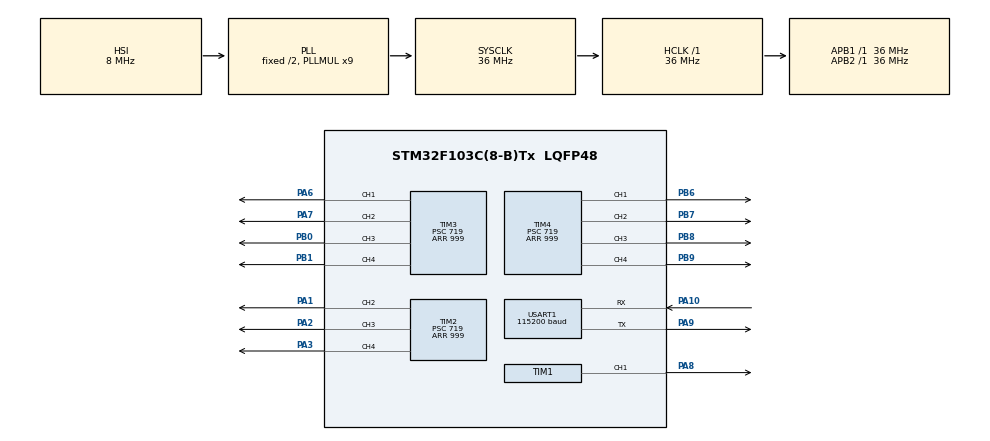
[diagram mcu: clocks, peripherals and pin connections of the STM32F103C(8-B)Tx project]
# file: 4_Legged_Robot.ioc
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Dma.Request0=USART1_RX
Dma.Request1=USART1_TX
Dma.USART1_RX.0.Direction=DMA_PERIPH_TO_MEMORY
Dma.USART1_RX.0.Instance=DMA1_Channel5
Dma.USART1_RX.0.MemDataAlignment=DMA_MDATAALIGN_BYTE
Dma.USART1_RX.0.MemInc=DMA_MINC_ENABLE
Dma.USART1_RX.0.Mode=DMA_CIRCULAR
Dma.USART1_RX.0.PeriphDataAlignment=DMA_PDATAALIGN_BYTE
Dma.USART1_RX.0.PeriphInc=DMA_PINC_DISABLE
Dma.USART1_RX.0.Priority=DMA_PRIORITY_LOW
Dma.USART1_TX.1.Direction=DMA_MEMORY_TO_PERIPH
Dma.USART1_TX.1.Instance=DMA1_Channel4
Dma.USART1_TX.1.MemDataAlignment=DMA_MDATAALIGN_BYTE
Dma.USART1_TX.1.MemInc=DMA_MINC_ENABLE
Dma.USART1_TX.1.Mode=DMA_CIRCULAR
Dma.USART1_TX.1.PeriphDataAlignment=DMA_PDATAALIGN_BYTE
Dma.USART1_TX.1.PeriphInc=DMA_PINC_DISABLE
Dma.USART1_TX.1.Priority=DMA_PRIORITY_LOW
Mcu.Family=STM32F1
Mcu.Name=STM32F103C(8-B)Tx
Mcu.Package=LQFP48
NVIC.DMA1_Channel4_IRQn=true\:0\:0\:false\:false\:true\:false\:true\:true
NVIC.DMA1_Channel5_IRQn=true\:0\:0\:false\:false\:true\:false\:true\:true
NVIC.PriorityGroup=NVIC_PRIORITYGROUP_4
NVIC.USART1_IRQn=true\:0\:0\:false\:false\:true\:true\:true\:true
PA1.Signal=S_TIM2_CH2
PA10.Mode=Asynchronous
PA10.Signal=USART1_RX
PA13.Mode=Serial_Wire
PA13.Signal=SYS_JTMS-SWDIO
PA14.Mode=Serial_Wire
PA14.Signal=SYS_JTCK-SWCLK
PA2.Signal=S_TIM2_CH3
PA3.Signal=S_TIM2_CH4
PA6.Signal=S_TIM3_CH1
PA7.Signal=S_TIM3_CH2
PA8.Signal=S_TIM1_CH1
PA9.Mode=Asynchronous
PA9.Signal=USART1_TX
PB0.Signal=S_TIM3_CH3
PB1.Signal=S_TIM3_CH4
PB6.Signal=S_TIM4_CH1
PB7.Signal=S_TIM4_CH2
PB8.Signal=S_TIM4_CH3
PB9.Signal=S_TIM4_CH4
PD0-OSC_IN.Mode=HSE-External-Oscillator
PD0-OSC_IN.Signal=RCC_OSC_IN
PD1-OSC_OUT.Mode=HSE-External-Oscillator
PD1-OSC_OUT.Signal=RCC_OSC_OUT
ProjectManager.HeapSize=0x200
ProjectManager.StackSize=0x400
ProjectManager.TargetToolchain=MDK-ARM V5.32
RCC.AHBFreq_Value=36000000
RCC.APB1Freq_Value=36000000
RCC.APB1TimFreq_Value=36000000
RCC.APB2Freq_Value=36000000
RCC.APB2TimFreq_Value=36000000
RCC.HCLKFreq_Value=36000000
RCC.PLLMUL=RCC_PLL_MUL9
RCC.SYSCLKFreq_VALUE=36000000
RCC.SYSCLKSource=RCC_SYSCLKSOURCE_PLLCLK
RCC.USBFreq_Value=36000000
SH.S_TIM1_CH1.0=TIM1_CH1,PWM Generation1 CH1
SH.S_TIM2_CH2.0=TIM2_CH2,PWM Generation2 CH2
SH.S_TIM2_CH3.0=TIM2_CH3,PWM Generation3 CH3
SH.S_TIM2_CH4.0=TIM2_CH4,PWM Generation4 CH4
SH.S_TIM3_CH1.0=TIM3_CH1,PWM Generation1 CH1
SH.S_TIM3_CH2.0=TIM3_CH2,PWM Generation2 CH2
SH.S_TIM3_CH3.0=TIM3_CH3,PWM Generation3 CH3
SH.S_TIM3_CH4.0=TIM3_CH4,PWM Generation4 CH4
SH.S_TIM4_CH1.0=TIM4_CH1,PWM Generation1 CH1
SH.S_TIM4_CH2.0=TIM4_CH2,PWM Generation2 CH2
SH.S_TIM4_CH3.0=TIM4_CH3,PWM Generation3 CH3
SH.S_TIM4_CH4.0=TIM4_CH4,PWM Generation4 CH4
TIM1.Channel-PWM\ Generation1\ CH1=TIM_CHANNEL_1
TIM1.Period=999
TIM1.Prescaler=719
TIM2.Channel-PWM\ Generation2\ CH2=TIM_CHANNEL_2
TIM2.Channel-PWM\ Generation3\ CH3=TIM_CHANNEL_3
TIM2.Channel-PWM\ Generation4\ CH4=TIM_CHANNEL_4
TIM2.Period=999
TIM2.Prescaler=719
TIM3.Channel-PWM\ Generation1\ CH1=TIM_CHANNEL_1
TIM3.Channel-PWM\ Generation2\ CH2=TIM_CHANNEL_2
TIM3.Channel-PWM\ Generation3\ CH3=TIM_CHANNEL_3
TIM3.Channel-PWM\ Generation4\ CH4=TIM_CHANNEL_4
TIM3.Period=999
TIM3.Prescaler=719
TIM4.Channel-PWM\ Generation1\ CH1=TIM_CHANNEL_1
TIM4.Channel-PWM\ Generation2\ CH2=TIM_CHANNEL_2
TIM4.Channel-PWM\ Generation3\ CH3=TIM_CHANNEL_3
TIM4.Channel-PWM\ Generation4\ CH4=TIM_CHANNEL_4
TIM4.Period=999
TIM4.Prescaler=719
USART1.BaudRate=115200
USART1.VirtualMode=VM_ASYNC
VP_TIM1_VS_ClockSourceINT.Mode=Internal
VP_TIM2_VS_ClockSourceINT.Mode=Internal
VP_TIM3_VS_ClockSourceINT.Mode=Internal
VP_TIM4_VS_ClockSourceINT.Mode=Internal
board=custom

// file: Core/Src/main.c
/* USER CODE BEGIN Header */
/**
  ******************************************************************************
  * @file           : main.c
  * @brief          : Main program body
  ******************************************************************************
  * @attention
  *
  * Copyright (c) 2023 STMicroelectronics.
  * All rights reserved.
  *
  * This software is licensed under terms that can be found in the LICENSE file
  * in the root directory of this software component.
  * If no LICENSE file comes with this software, it is provided AS-IS.
  *
  ******************************************************************************
  */
/* USER CODE END Header */
#include "main.h"
#include "dma.h"
#include "tim.h"
#include "usart.h"
#include "gpio.h"

/* USER CODE BEGIN PV */
/*Setting an initial value for the angle of each motor.*/
int Motor_Current_Position[4][5] = {{0, 0, 0, 0, 0}, {0, 79, 75, 77, 78},
{0, 125, 116, 117, 125}, {0, 94, 86, 90, 85}};
int space = 0, count = 0;
char symbol;
uint8_t RxBuffer[4];
/* USER CODE END PV */

void SystemClock_Config(void);
/* USER CODE BEGIN PFP */
int Find_max(int pwm_1, int pwm_2, int pwm_3, int pwm_4);
void Move_All(int pwm_1, int pwm_2, int pwm_3, int pwm_4, int motor);
void Move(TIM_HandleTypeDef htim, int timer, int CCR, int pwm, int motor);
void Home(void);
void Forward(int count);
void Backward(int count);
void Turn_Left(int count);
void Turn_Right(int count);
void deCode(void);
void HAL_UART_RxCpltCallback(UART_HandleTypeDef *huart);
/* USER CODE END PFP */

/* USER CODE BEGIN 0 */
////////////////////////////////////////////////////////////////////////////////////
/* USER CODE END 0 */

int main(void)
{

  /* MCU Configuration--------------------------------------------------------*/

  /* Reset of all peripherals, Initializes the Flash interface and the Systick. */
  HAL_Init();

  /* Configure the system clock */
  SystemClock_Config();

  /* Initialize all configured peripherals */
  MX_GPIO_Init();
  MX_DMA_Init();
  MX_USART1_UART_Init();
  MX_TIM1_Init();
  MX_TIM2_Init();
  MX_TIM3_Init();
  MX_TIM4_Init();
  /* USER CODE BEGIN 2 */
	////////////////////////////////////////////////////////////// Leg1
	HAL_TIM_PWM_Start(&htim1, TIM_CHANNEL_1); //A8	=> M3
	HAL_TIM_PWM_Start(&htim3, TIM_CHANNEL_4);	//B1	=> M2
	HAL_TIM_PWM_Start(&htim4, TIM_CHANNEL_4); //B9  => M1
	////////////////////////////////////////////////////////////// Leg2
	HAL_TIM_PWM_Start(&htim2, TIM_CHANNEL_2);	//A1	=> M3
	HAL_TIM_PWM_Start(&htim2, TIM_CHANNEL_3); //A2	=> M2
	HAL_TIM_PWM_Start(&htim2, TIM_CHANNEL_4);	//A3	=> M1
	////////////////////////////////////////////////////////////// Leg3
	HAL_TIM_PWM_Start(&htim3, TIM_CHANNEL_1); //A6	=> M1
	HAL_TIM_PWM_Start(&htim3, TIM_CHANNEL_2);	//A7	=> M2
	HAL_TIM_PWM_Start(&htim3, TIM_CHANNEL_3); //B0	=> M3
	////////////////////////////////////////////////////////////// Leg4
	HAL_TIM_PWM_Start(&htim4, TIM_CHANNEL_1); //B6	=> M1
	HAL_TIM_PWM_Start(&htim4, TIM_CHANNEL_2);	//B7	=> M2
	HAL_TIM_PWM_Start(&htim4, TIM_CHANNEL_3); //B8	=> M3
  /* USER CODE END 2 */

  /* Infinite loop */
  /* USER CODE BEGIN WHILE */
	HAL_UART_Receive_DMA(&huart1, RxBuffer, 4);
	Home();

  while (1)
  {
    /* USER CODE END WHILE */

    /* USER CODE BEGIN 3 */
		switch(symbol)
		{
			case 'P':
				if(space < 110)
					Forward(1);
				else
				{
					Turn_Right(5);
					Forward(11);
					Turn_Left(5);
					Forward(11);
					Turn_Right(5);
				}
				break;
			case 'B':
				if(space < 105)
					Forward(1);
				else
					Forward(20);
				break;
		}
  }
  /* USER CODE END 3 */
}

void SystemClock_Config(void)
{
  RCC_OscInitTypeDef RCC_OscInitStruct = {0};
  RCC_ClkInitTypeDef RCC_ClkInitStruct = {0};

  /** Initializes the RCC Oscillators according to the specified parameters
  * in the RCC_OscInitTypeDef structure.
  */
  RCC_OscInitStruct.OscillatorType = RCC_OSCILLATORTYPE_HSI;
  RCC_OscInitStruct.HSIState = RCC_HSI_ON;
  RCC_OscInitStruct.HSICalibrationValue = RCC_HSICALIBRATION_DEFAULT;
  RCC_OscInitStruct.PLL.PLLState = RCC_PLL_ON;
  RCC_OscInitStruct.PLL.PLLSource = RCC_PLLSOURCE_HSI_DIV2;
  RCC_OscInitStruct.PLL.PLLMUL = RCC_PLL_MUL9;
  if (HAL_RCC_OscConfig(&RCC_OscInitStruct) != HAL_OK)
  {
    Error_Handler();
  }

  /** Initializes the CPU, AHB and APB buses clocks
  */
  RCC_ClkInitStruct.ClockType = RCC_CLOCKTYPE_HCLK|RCC_CLOCKTYPE_SYSCLK
                              |RCC_CLOCKTYPE_PCLK1|RCC_CLOCKTYPE_PCLK2;
  RCC_ClkInitStruct.SYSCLKSource = RCC_SYSCLKSOURCE_PLLCLK;
  RCC_ClkInitStruct.AHBCLKDivider = RCC_SYSCLK_DIV1;
  RCC_ClkInitStruct.APB1CLKDivider = RCC_HCLK_DIV1;
  RCC_ClkInitStruct.APB2CLKDivider = RCC_HCLK_DIV1;

  if (HAL_RCC_ClockConfig(&RCC_ClkInitStruct, FLASH_LATENCY_1) != HAL_OK)
  {
    Error_Handler();
  }
}

/* USER CODE BEGIN 4 */
/*Finding the maximum value among the four motors.*/
int Find_max(int pwm_1, int pwm_2, int pwm_3, int pwm_4)
{
	int max = pwm_1;
	if(max < pwm_2)
		max = pwm_2;
	if(max < pwm_3)
		max = pwm_3;
	if(max < pwm_4)
		max = pwm_4;
	return max;
}
////////////////////////////////////////////////////////////////////////////////
/*Simultaneously moving all four motors in a row.*/
void Move_All(int pwm_1, int pwm_2, int pwm_3, int pwm_4, int motor)
{
	int n, max;
	max = Find_max(pwm_1, pwm_2, pwm_3, pwm_4);
	switch(motor)
	{
		case 1:
			n = 50;
			for(;n <= max;n++)
			{
				if(pwm_3 >= n)
					htim3.Instance->CCR1 = n;
				if(pwm_1 >= n)
					htim4.Instance->CCR4 = n;
				if(pwm_4 >= n)
					htim4.Instance->CCR1 = n;
				if(pwm_2 >= n)
					htim2.Instance->CCR4 = n;
				HAL_Delay(10);
			}
			break;
		case 2:
			n = 70;
			for(;n <= max;n++)
			{
				if(pwm_3 >= n)
					htim3.Instance->CCR2 = n;
				if(pwm_1 >= n)
					htim3.Instance->CCR4 = n;
				if(pwm_4 >= n)
					htim4.Instance->CCR2 = n;
				if(pwm_2 >= n)
					htim2.Instance->CCR3 = n;
				HAL_Delay(10);
			}
			break;
		case 3:
			n = 45;
			for(;n <= max;n++)
			{
				if(pwm_3 >= n)
					htim3.Instance->CCR3 = n;
				if(pwm_1 >= n)
					htim1.Instance->CCR1 = n;
				if(pwm_4 >= n)
					htim4.Instance->CCR3 = n;
				if(pwm_2 >= n)
					htim2.Instance->CCR2 = n;
				HAL_Delay(10);
			}
			break;
	}
}
////////////////////////////////////////////////////////////////////////////////
/*Moving the motor to a desired angle.*/
void Move(TIM_HandleTypeDef htim, int timer, int CCR, int pwm, int motor)
{
	int n;
	if( timer == 3 && CCR == 3)
		n = Motor_Current_Position[motor][1];
	else if( timer == 4 && CCR == 4)
		n = Motor_Current_Position[motor][1];
	else
		n = Motor_Current_Position[motor][timer];
	if(n <= pwm)
	{
		switch(CCR)
		{
			case 1:
					for(;n <= pwm;n++)
					{
						htim.Instance->CCR1 = n;
						HAL_Delay(10);
					}
					break;
			case 2:
					for(;n <= pwm;n++)
					{
						htim.Instance->CCR2 = n;
						HAL_Delay(10);
					}
					break;
			case 3:
					for(;n <= pwm;n++)
					{
						htim.Instance->CCR3 = n;
						HAL_Delay(10);
					}
					break;
			case 4:
					for(;n <= pwm;n++)
					{
						htim.Instance->CCR4 = n;
						HAL_Delay(10);
					}
					break;
		}
	}
	else
	{
		switch(CCR)
		{
			case 1:
					for(;n >= pwm;n--)
					{
						htim.Instance->CCR1 = n;
						HAL_Delay(10);
					}
					break;
			case 2:
					for(;n >= pwm;n--)
					{
						htim.Instance->CCR2 = n;
						HAL_Delay(10);
					}
					break;
			case 3:
					for(;n >= pwm;n--)
					{
						htim.Instance->CCR3 = n;
						HAL_Delay(10);
					}
					break;
			case 4:
					for(;n >= pwm;n--)
					{
						htim.Instance->CCR4 = n;
						HAL_Delay(10);
					}
					break;
		}
	}
	if( timer == 3 && CCR == 3)
		Motor_Current_Position[motor][1] = pwm;
	else if( timer == 4 && CCR == 4)
		Motor_Current_Position[motor][1] = pwm;
	else
		Motor_Current_Position[motor][timer] = pwm;
}
////////////////////////////////////////////////////////////////////////////////
/*Initial state of the robot in complete stability.*/
void Home()
{
	HAL_Delay(2000);
	Move_All(79, 75, 77, 78, 1);
	Move_All(125, 116, 117, 125, 2);
	Move_All(94, 86, 90, 85, 3);
	HAL_Delay(1000);
}
////////////////////////////////////////////////////////////////////////////////
/*Moving forward by the desired amount.*/
void Forward(int count)
{
	for(int i = 1;i <= count;i++)
	{
		///////////////////////////
		Move(htim3, 3, 2, 107, 2);
		Move(htim3, 3, 3, 80, 3);
		Move(htim4, 4, 1, 103, 1);
		Move(htim3, 3, 2, 117, 2);
		Move(htim3, 3, 3, 90, 3);
		Move(htim2, 2, 3, 111, 2);
		Move(htim2, 2, 2, 76, 3);
		Move(htim4, 4, 1, 78,1);
		Move(htim2, 2, 3, 116, 2);
		Move(htim2, 2, 2, 86, 3);
		HAL_Delay(300);
		///////////////////////////
		Move(htim2, 2, 3, 106, 2);
		Move(htim2, 2, 2, 76, 3);
		Move(htim4, 4, 4, 54, 1);
		Move(htim2, 2, 3, 116, 2);
		Move(htim2, 2, 2, 86, 3);
		Move(htim3, 3, 2, 112, 2);
		Move(htim3, 3, 3, 85, 3);
		Move(htim4, 4, 4, 79, 1);
		Move(htim3, 3, 2, 117, 2);
		Move(htim3, 3, 3, 90, 3);
		HAL_Delay(300);
	}
}
////////////////////////////////////////////////////////////////////////////////
/*Moving backward by the desired amount.*/
void Backward(int count)
{
	for(int i = 1;i <= count;i++)
	{
		///////////////////////////
		Move(htim4, 4, 2, 115, 2);
		Move(htim4, 4, 3, 75, 3);
		Move(htim3, 3, 1, 102, 1);
		Move(htim4, 4, 2, 125, 2);
		Move(htim4, 4, 3, 85, 3);
		Move(htim3, 3, 4, 120, 2);
		Move(htim1, 1, 1, 89, 3);
		Move(htim3, 3, 1, 77,1);
		Move(htim3, 3, 4, 125, 2);
		Move(htim1, 1, 1, 94, 3);
		HAL_Delay(300);
		///////////////////////////
		Move(htim3, 3, 4, 115, 2);
		Move(htim1, 1, 1, 84, 3);
		Move(htim2, 2, 4, 50, 1);
		Move(htim3, 3, 4, 125, 2);
		Move(htim1, 1, 1, 94, 3);
		Move(htim4, 4, 2, 120, 2);
		Move(htim4, 4, 3, 80, 3);
		Move(htim2, 2, 4, 75, 1);
		Move(htim4, 3, 2, 125, 2);
		Move(htim4, 3, 3, 85, 3);
		HAL_Delay(300);
	}
}
////////////////////////////////////////////////////////////////////////////////
/*Turning left by the desired amount.*/
void Turn_Left(int count)
{
	Move(htim2, 2, 3, 111, 2);
	for(int i = 1;i <= count;i++)
	{
		///////////////////////////
		Move(htim4, 4, 2, 110, 2);
		Move(htim4, 4, 3, 70, 3);
		Move(htim3, 3, 1, 107, 1);
		Move(htim4, 4, 2, 125, 2);
		Move(htim4, 4, 3, 85, 3);
		///////////////////////////
		Move(htim3, 3, 3, 70, 3);
		Move(htim4, 4, 1, 108, 1);
		Move(htim3, 3, 3, 90, 3);
		for(int p = 1;p <= 30;p++)
		{
			htim3.Instance->CCR1 = 107 - p;
			htim4.Instance->CCR1 = 108 - p;
			HAL_Delay(10);
		}
		Motor_Current_Position[1][3] = 77;
		Motor_Current_Position[1][4] = 78;
		HAL_Delay(300);
	}
	Move(htim2, 2, 3, 116, 2);
}
////////////////////////////////////////////////////////////////////////////////
/*Turning right by the desired amount.*/
void Turn_Right(int count)
{
	Move(htim3, 3, 2, 114, 2);
	for(int i = 1;i <= count;i++)
	{
		///////////////////////////
		Move(htim2, 2, 3, 101, 2);
		Move(htim2, 2, 2, 71, 3);
		Move(htim4, 4, 4, 49, 1);
		Move(htim2, 2, 3, 116, 2);
		Move(htim2, 2, 2, 86, 3);
		///////////////////////////
		Move(htim1, 1, 1, 74, 3);
		Move(htim2, 2, 4, 45, 1);
		Move(htim1, 1, 1, 94, 3);
		for(int p = 1;p <= 30;p++)
		{
			htim4.Instance->CCR4 = 49 + p;
			htim2.Instance->CCR4 = 45 + p;
			HAL_Delay(10);
		}
		Motor_Current_Position[1][1] = 79;
		Motor_Current_Position[1][2] = 75;
		HAL_Delay(300);
	}
	Move(htim3, 3, 2, 117, 2);
}
////////////////////////////////////////////////////////////////////////////////
void deCode()
{
	int index = 5;
	if(RxBuffer[0] == 66 || RxBuffer[0] == 78 || RxBuffer[0] == 80 || RxBuffer[0] == 89)
	{
		index = 0;
		symbol = RxBuffer[0];
	}
	else if(RxBuffer[1] == 66 || RxBuffer[1] == 78 || RxBuffer[1] == 80 || RxBuffer[1] == 89)
	{
		index = 1;
		symbol = RxBuffer[1];
	}
	else if(RxBuffer[2] == 66 || RxBuffer[2] == 78 || RxBuffer[2] == 80 || RxBuffer[2] == 89)
	{
		index = 2;
		symbol = RxBuffer[2];
	}
	else if(RxBuffer[3] == 66 || RxBuffer[3] == 78 || RxBuffer[3] == 80 || RxBuffer[3] == 89)
	{
		index = 3;
		symbol = RxBuffer[3];
	}
	switch(index)
	{
		case 0:
			space = (RxBuffer[3] - 48) + (RxBuffer[2] - 48) * 10 + (RxBuffer[1] - 48) * 100;
			break;
		case 1:
			space = (RxBuffer[0] - 48) + (RxBuffer[3] - 48) * 10 + (RxBuffer[2] - 48) * 100;
			break;
		case 2:
			space = (RxBuffer[1] - 48) + (RxBuffer[0] - 48) * 10 + (RxBuffer[3] - 48) * 100;
			break;
		case 3:
			space = (RxBuffer[2] - 48) + (RxBuffer[1] - 48) * 10 + (RxBuffer[0] - 48) * 100;
			break;
	}
}
////////////////////////////////////////////////////////////////////////////////
void HAL_UART_RxCpltCallback(UART_HandleTypeDef *huart)
{
	if(huart == &huart1){
		deCode();
	}
}
/* USER CODE END 4 */

void Error_Handler(void)
{
  __disable_irq();
  while (1)
  {
  }
}
